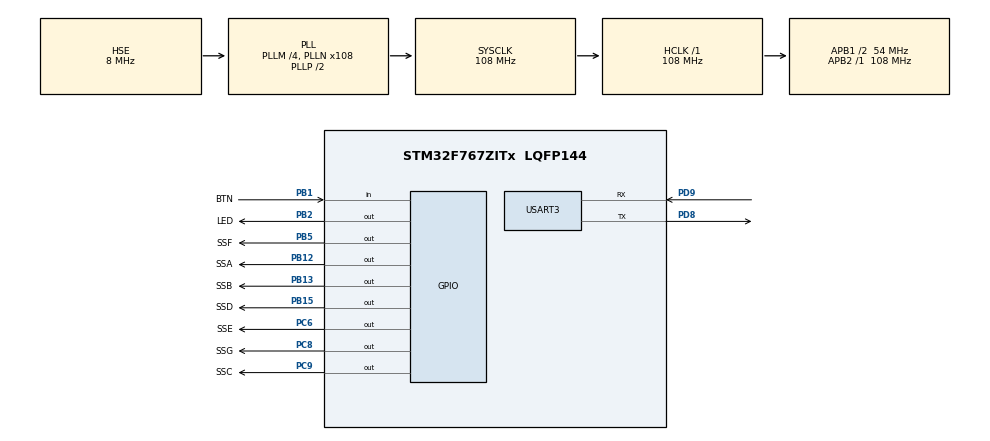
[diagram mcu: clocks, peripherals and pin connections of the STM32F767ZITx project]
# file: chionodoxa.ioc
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Mcu.Family=STM32F7
Mcu.Name=STM32F767ZITx
Mcu.Package=LQFP144
NVIC.PriorityGroup=NVIC_PRIORITYGROUP_4
PB1.GPIO_Label=BTN
PB1.GPIO_PuPd=GPIO_PULLDOWN
PB1.Signal=GPIO_Input
PB12.GPIO_Label=SSA
PB12.Signal=GPIO_Output
PB13.GPIO_Label=SSB
PB13.Signal=GPIO_Output
PB15.GPIO_Label=SSD
PB15.Signal=GPIO_Output
PB2.GPIO_Label=LED
PB2.PinState=GPIO_PIN_RESET
PB2.Signal=GPIO_Output
PB5.GPIO_Label=SSF
PB5.Signal=GPIO_Output
PC6.GPIO_Label=SSE
PC6.Signal=GPIO_Output
PC8.GPIO_Label=SSG
PC8.Signal=GPIO_Output
PC9.GPIO_Label=SSC
PC9.Signal=GPIO_Output
PD8.Mode=Asynchronous
PD8.Signal=USART3_TX
PD9.Mode=Asynchronous
PD9.Signal=USART3_RX
PH0/OSC_IN.Mode=HSE-External-Oscillator
PH0/OSC_IN.Signal=RCC_OSC_IN
PH1/OSC_OUT.Mode=HSE-External-Oscillator
PH1/OSC_OUT.Signal=RCC_OSC_OUT
ProjectManager.HeapSize=0x200
ProjectManager.StackSize=0x400
ProjectManager.TargetToolchain=STM32CubeIDE
RCC.48MHZClocksFreq_Value=24000000
RCC.AHBFreq_Value=108000000
RCC.APB1CLKDivider=RCC_HCLK_DIV2
RCC.APB1Freq_Value=54000000
RCC.APB1TimFreq_Value=108000000
RCC.APB2Freq_Value=108000000
RCC.APB2TimFreq_Value=108000000
RCC.CortexFreq_Value=108000000
RCC.HCLKFreq_Value=108000000
RCC.HSE_VALUE=8000000
RCC.HSI_VALUE=16000000
RCC.LSE_VALUE=32768
RCC.PLLM=4
RCC.PLLMUL=RCC_PLL_MUL9
RCC.PLLN=108
RCC.PLLQ=4
RCC.PLLSourceVirtual=RCC_PLLSOURCE_HSE
RCC.PRESCALERUSB=RCC_USBCLKSOURCE_PLL_DIV1_5
RCC.SYSCLKFreq_VALUE=108000000
RCC.SYSCLKSource=RCC_SYSCLKSOURCE_PLLCLK
RCC.SYSCLKSourceVirtual=RCC_SYSCLKSOURCE_PLLCLK
RCC.USBFreq_Value=54000000
RCC.VCOOutputFreq_Value=216000000
TIM2.Prescaler=10800 - 1
USART3.VirtualMode-Asynchronous=VM_ASYNC
VP_TIM2_VS_ClockSourceINT.Mode=Internal
board=NUCLEO-F767ZI

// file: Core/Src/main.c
/* USER CODE BEGIN Header */
/**
  ******************************************************************************
  * @file           : main.c
  * @brief          : Main program body
  ******************************************************************************
  * @attention
  *
  * Copyright (c) 2025 STMicroelectronics.
  * All rights reserved.
  *
  * This software is licensed under terms that can be found in the LICENSE file
  * in the root directory of this software component.
  * If no LICENSE file comes with this software, it is provided AS-IS.
  *
  ******************************************************************************
  */
/* USER CODE END Header */
#include "main.h"

/* USER CODE BEGIN Includes */
#include <string.h>
#include <stdio.h>
#include <stdbool.h>
/* USER CODE END Includes */

TIM_HandleTypeDef htim2;

UART_HandleTypeDef huart3;

void SystemClock_Config(void);
static void MX_GPIO_Init(void);
static void MX_TIM2_Init(void);
static void MX_USART3_UART_Init(void);

/* USER CODE BEGIN 0 */
#define CLEAR_SCREEN "\033[2J\033[H"
/* USER CODE END 0 */

int main(void)
{

  /* USER CODE BEGIN 1 */
	// Using the same struct as in the traffic light, I prefer this over the macros
	typedef struct {
		GPIO_TypeDef* port;
		uint16_t pin;
	} Pin;

	// Doing print time on its own thing to prevent weird overflow side effects, safer to keep it all separate
	volatile uint32_t timer_val, print_time, milis, seconds, minutes, hours;
	milis = seconds = minutes = hours = 0;

	bool active = false;
	bool first_run = true;
	bool first_loop = false;

	// SS stands for Seven Segment, seven segment display values
	/* Guide:
	 *  -    A
	 * | |  F|B
	 *  -    G
	 * | |  E|C
	 *  -    D
	 */

	const Pin LED =  {GPIOB, GPIO_PIN_2};
	const Pin BTN =  {GPIOB, GPIO_PIN_1};
	const Pin SSA = {GPIOB, GPIO_PIN_12};
	const Pin SSB = {GPIOB, GPIO_PIN_13};
	const Pin SSC =  {GPIOC, GPIO_PIN_9};
	const Pin SSD = {GPIOB, GPIO_PIN_15};
	const Pin SSE =  {GPIOC, GPIO_PIN_6};
	const Pin SSF =  {GPIOB, GPIO_PIN_5};
	const Pin SSG =  {GPIOC, GPIO_PIN_8};

	// Pre-defining the numbers to be displayed in arrays

	Pin zero[] = {SSA, SSB, SSC, SSD, SSE, SSF};
	Pin one[] = {SSB, SSC};
	Pin two[] = {SSA, SSB, SSG, SSE, SSD};
	Pin three[] = {SSA, SSB, SSG, SSC, SSD};
	Pin four[] = {SSF, SSB, SSG, SSC};
	Pin five[] = {SSA, SSF, SSG, SSC, SSD};
	Pin six[] = {SSA, SSF, SSC, SSD, SSE, SSG};
	Pin seven[] = {SSA, SSB, SSC};
	Pin eight[] = {SSA, SSB, SSC, SSD, SSE, SSF, SSG};
	Pin nine[] = {SSA, SSB, SSF, SSG, SSC, SSD};
	Pin error[] = {SSA, SSG, SSD};

	// Defining the function in main as it's an impure function with side effects and will access the pins directly, which have only been defined in main.
	// When passing in, arrays decay to pointers, so I need to pass the size as an argument with `sizeof(arr) / sizeof(arr[0])`
	void display_num(Pin *number, int size) {
		HAL_GPIO_WritePin(SSA.port, SSA.pin, GPIO_PIN_RESET);
		HAL_GPIO_WritePin(SSB.port, SSB.pin, GPIO_PIN_RESET);
		HAL_GPIO_WritePin(SSC.port, SSC.pin, GPIO_PIN_RESET);
		HAL_GPIO_WritePin(SSD.port, SSD.pin, GPIO_PIN_RESET);
		HAL_GPIO_WritePin(SSE.port, SSE.pin, GPIO_PIN_RESET);
		HAL_GPIO_WritePin(SSF.port, SSF.pin, GPIO_PIN_RESET);
		HAL_GPIO_WritePin(SSG.port, SSG.pin, GPIO_PIN_RESET);

		for (int i = 0; i < size; i++) {
			HAL_GPIO_WritePin(number[i].port, number[i].pin, GPIO_PIN_SET);
		}
	}

  /* USER CODE END 1 */

  /* MCU Configuration--------------------------------------------------------*/

  /* Reset of all peripherals, Initializes the Flash interface and the Systick. */
  HAL_Init();

  /* Configure the system clock */
  SystemClock_Config();

  /* Initialize all configured peripherals */
  MX_GPIO_Init();
  MX_TIM2_Init();
  MX_USART3_UART_Init();
  /* USER CODE BEGIN 2 */
  // Start timer
  HAL_TIM_Base_Start(&htim2);
  timer_val, print_time = __HAL_TIM_GET_COUNTER(&htim2);
  uint32_t display_value = 0;

  // UART variables
  char transmit_buffer[100];
  uint8_t timeout = 100;

  GPIO_PinState button_state;
  /* USER CODE END 2 */

  /* Infinite loop */
  while (1)
  {

    /* USER CODE BEGIN 3 */
	// ONE SECOND = 10000 IMPORTANT TO REMEMBER
	uint32_t now = __HAL_TIM_GET_COUNTER(&htim2);

	if (active) {
		// To make sure timer_val is reset as late as possible
		if (first_loop) {
			display_num(zero, sizeof(zero) / sizeof(zero[0]));
			first_loop = false;
			timer_val = now;
		}

		uint32_t elapsed = now - timer_val;
		uint32_t print_time_elapsed = now - print_time;

		if (elapsed > 9999) {
			timer_val = now;
			seconds++;

			if (seconds > 59) {
				minutes++;
				seconds = 0;
			}

			if (minutes > 59) {
				hours++;
				minutes = 0;
			}

			if (display_value >= 9) {
				display_value = 0;
			} else {
				display_value++;
			}

			// Toggle on LED every second for a second-hand feeling
			HAL_GPIO_TogglePin(LED.port, LED.pin);

			// Switch is inside here, because if this is triggered every time in the loop the display doesn't work properly, it doesn't matter since it only has to update per second anyway
			switch (display_value) {
				case 0:
					display_num(zero, sizeof(zero) / sizeof(zero[0]));
					break;
				case 1:
					display_num(one, sizeof(one) / sizeof(one[0]));
					break;
				case 2:
					display_num(two, sizeof(two) / sizeof(two[0]));
					break;
				case 3:
					display_num(three, sizeof(three) / sizeof(three[0]));
					break;
				case 4:
					display_num(four, sizeof(four) / sizeof(four[0]));
					break;
				case 5:
					display_num(five, sizeof(five) / sizeof(five[0]));
					break;
				case 6:
					display_num(six, sizeof(six) / sizeof(six[0]));
					break;
				case 7:
					display_num(seven, sizeof(seven) / sizeof(seven[0]));
					break;
				case 8:
					display_num(eight, sizeof(eight) / sizeof(zero[0]));
					break;
				case 9:
					display_num(nine, sizeof(nine) / sizeof(nine[0]));
					break;
				default:
					display_num(error, sizeof(error) / sizeof(error[0]));
					break;
			}
		}

		if (print_time_elapsed > 199) {
			milis = (uint16_t) elapsed / 10;

			// this sacrifices a tiny bit of accuracy for the sake of my sanity (and pretty display), but with perfect every 10ms printing this is actually perfectly accurate
			if (milis > 999) {
				milis = 0;
			}

			sprintf(transmit_buffer, "%s%02dH-%02dM-%02dS-%03dMS\n\r", CLEAR_SCREEN, hours, minutes, seconds, milis);
			HAL_UART_Transmit(&huart3, transmit_buffer, strlen(transmit_buffer), timeout);

			print_time = now;
		}

		button_state = HAL_GPIO_ReadPin(BTN.port, BTN.pin);
		if (button_state == GPIO_PIN_SET) {
			while (button_state == GPIO_PIN_SET) {
				HAL_Delay(20); // Debounce
				button_state = HAL_GPIO_ReadPin(BTN.port, BTN.pin);
			}
			active = false;
		}
	} else {
		if (!first_run) {
			sprintf(transmit_buffer, "%sFinal Time: %02dH-%02dM-%02dS-%03dMS\n\r\n\r", CLEAR_SCREEN, hours, minutes, seconds, milis);
			HAL_UART_Transmit(&huart3, transmit_buffer, strlen(transmit_buffer), timeout);
		}

		milis = seconds = minutes = hours = display_value = 0;

		sprintf(transmit_buffer, "Press button to start.\n\r");
		HAL_UART_Transmit(&huart3, transmit_buffer, strlen(transmit_buffer), timeout);

		while (1) {
			button_state = HAL_GPIO_ReadPin(BTN.port, BTN.pin);
			if (button_state == GPIO_PIN_SET) {
				while (button_state == GPIO_PIN_SET) {
					HAL_Delay(20); // Debounce
					button_state = HAL_GPIO_ReadPin(BTN.port, BTN.pin);
				}
				break;
			}
		}

		sprintf(transmit_buffer, "%sCounting starts shortly, when active press button again to stop.\n\r", CLEAR_SCREEN);
		HAL_UART_Transmit(&huart3, transmit_buffer, strlen(transmit_buffer), timeout);

		// Buffer so the message about counting can be read, printing it constantly with the timer itself led to awful flickering
		HAL_Delay(3000);

		first_run = false;
		first_loop = true;
		active = true;
	}
  }
  /* USER CODE END 3 */
}

void SystemClock_Config(void)
{
  RCC_OscInitTypeDef RCC_OscInitStruct = {0};
  RCC_ClkInitTypeDef RCC_ClkInitStruct = {0};

  /** Configure the main internal regulator output voltage
  */
  __HAL_RCC_PWR_CLK_ENABLE();
  __HAL_PWR_VOLTAGESCALING_CONFIG(PWR_REGULATOR_VOLTAGE_SCALE3);

  /** Initializes the RCC Oscillators according to the specified parameters
  * in the RCC_OscInitTypeDef structure.
  */
  RCC_OscInitStruct.OscillatorType = RCC_OSCILLATORTYPE_HSE;
  RCC_OscInitStruct.HSEState = RCC_HSE_ON;
  RCC_OscInitStruct.PLL.PLLState = RCC_PLL_ON;
  RCC_OscInitStruct.PLL.PLLSource = RCC_PLLSOURCE_HSE;
  RCC_OscInitStruct.PLL.PLLM = 4;
  RCC_OscInitStruct.PLL.PLLN = 108;
  RCC_OscInitStruct.PLL.PLLP = RCC_PLLP_DIV2;
  RCC_OscInitStruct.PLL.PLLQ = 4;
  RCC_OscInitStruct.PLL.PLLR = 2;
  if (HAL_RCC_OscConfig(&RCC_OscInitStruct) != HAL_OK)
  {
    Error_Handler();
  }

  /** Activate the Over-Drive mode
  */
  if (HAL_PWREx_EnableOverDrive() != HAL_OK)
  {
    Error_Handler();
  }

  /** Initializes the CPU, AHB and APB buses clocks
  */
  RCC_ClkInitStruct.ClockType = RCC_CLOCKTYPE_HCLK|RCC_CLOCKTYPE_SYSCLK
                              |RCC_CLOCKTYPE_PCLK1|RCC_CLOCKTYPE_PCLK2;
  RCC_ClkInitStruct.SYSCLKSource = RCC_SYSCLKSOURCE_PLLCLK;
  RCC_ClkInitStruct.AHBCLKDivider = RCC_SYSCLK_DIV1;
  RCC_ClkInitStruct.APB1CLKDivider = RCC_HCLK_DIV2;
  RCC_ClkInitStruct.APB2CLKDivider = RCC_HCLK_DIV1;

  if (HAL_RCC_ClockConfig(&RCC_ClkInitStruct, FLASH_LATENCY_3) != HAL_OK)
  {
    Error_Handler();
  }
}

static void MX_TIM2_Init(void)
{

  TIM_ClockConfigTypeDef sClockSourceConfig = {0};
  TIM_MasterConfigTypeDef sMasterConfig = {0};

  htim2.Instance = TIM2;
  htim2.Init.Prescaler = 10800 - 1;
  htim2.Init.CounterMode = TIM_COUNTERMODE_UP;
  htim2.Init.Period = 4294967295;
  htim2.Init.ClockDivision = TIM_CLOCKDIVISION_DIV1;
  htim2.Init.AutoReloadPreload = TIM_AUTORELOAD_PRELOAD_DISABLE;
  if (HAL_TIM_Base_Init(&htim2) != HAL_OK)
  {
    Error_Handler();
  }
  sClockSourceConfig.ClockSource = TIM_CLOCKSOURCE_INTERNAL;
  if (HAL_TIM_ConfigClockSource(&htim2, &sClockSourceConfig) != HAL_OK)
  {
    Error_Handler();
  }
  sMasterConfig.MasterOutputTrigger = TIM_TRGO_RESET;
  sMasterConfig.MasterSlaveMode = TIM_MASTERSLAVEMODE_DISABLE;
  if (HAL_TIMEx_MasterConfigSynchronization(&htim2, &sMasterConfig) != HAL_OK)
  {
    Error_Handler();
  }

}

static void MX_USART3_UART_Init(void)
{

  huart3.Instance = USART3;
  huart3.Init.BaudRate = 115200;
  huart3.Init.WordLength = UART_WORDLENGTH_8B;
  huart3.Init.StopBits = UART_STOPBITS_1;
  huart3.Init.Parity = UART_PARITY_NONE;
  huart3.Init.Mode = UART_MODE_TX_RX;
  huart3.Init.HwFlowCtl = UART_HWCONTROL_NONE;
  huart3.Init.OverSampling = UART_OVERSAMPLING_16;
  huart3.Init.OneBitSampling = UART_ONE_BIT_SAMPLE_DISABLE;
  huart3.AdvancedInit.AdvFeatureInit = UART_ADVFEATURE_NO_INIT;
  if (HAL_UART_Init(&huart3) != HAL_OK)
  {
    Error_Handler();
  }

}

static void MX_GPIO_Init(void)
{
  GPIO_InitTypeDef GPIO_InitStruct = {0};

  /* GPIO Ports Clock Enable */
  __HAL_RCC_GPIOH_CLK_ENABLE();
  __HAL_RCC_GPIOB_CLK_ENABLE();
  __HAL_RCC_GPIOD_CLK_ENABLE();
  __HAL_RCC_GPIOC_CLK_ENABLE();

  /*Configure GPIO pin Output Level */
  HAL_GPIO_WritePin(GPIOB, LED_Pin|SSA_Pin|SSB_Pin|SSD_Pin
                          |SSF_Pin, GPIO_PIN_RESET);

  /*Configure GPIO pin Output Level */
  HAL_GPIO_WritePin(GPIOC, SSE_Pin|SSG_Pin|SSC_Pin, GPIO_PIN_RESET);

  /*Configure GPIO pin : BTN_Pin */
  GPIO_InitStruct.Pin = BTN_Pin;
  GPIO_InitStruct.Mode = GPIO_MODE_INPUT;
  GPIO_InitStruct.Pull = GPIO_PULLDOWN;
  HAL_GPIO_Init(BTN_GPIO_Port, &GPIO_InitStruct);

  /*Configure GPIO pins : LED_Pin SSA_Pin SSB_Pin SSD_Pin
                           SSF_Pin */
  GPIO_InitStruct.Pin = LED_Pin|SSA_Pin|SSB_Pin|SSD_Pin
                          |SSF_Pin;
  GPIO_InitStruct.Mode = GPIO_MODE_OUTPUT_PP;
  GPIO_InitStruct.Pull = GPIO_NOPULL;
  GPIO_InitStruct.Speed = GPIO_SPEED_FREQ_LOW;
  HAL_GPIO_Init(GPIOB, &GPIO_InitStruct);

  /*Configure GPIO pins : SSE_Pin SSG_Pin SSC_Pin */
  GPIO_InitStruct.Pin = SSE_Pin|SSG_Pin|SSC_Pin;
  GPIO_InitStruct.Mode = GPIO_MODE_OUTPUT_PP;
  GPIO_InitStruct.Pull = GPIO_NOPULL;
  GPIO_InitStruct.Speed = GPIO_SPEED_FREQ_LOW;
  HAL_GPIO_Init(GPIOC, &GPIO_InitStruct);

}

void Error_Handler(void)
{
  __disable_irq();
  while (1)
  {
  }
}
